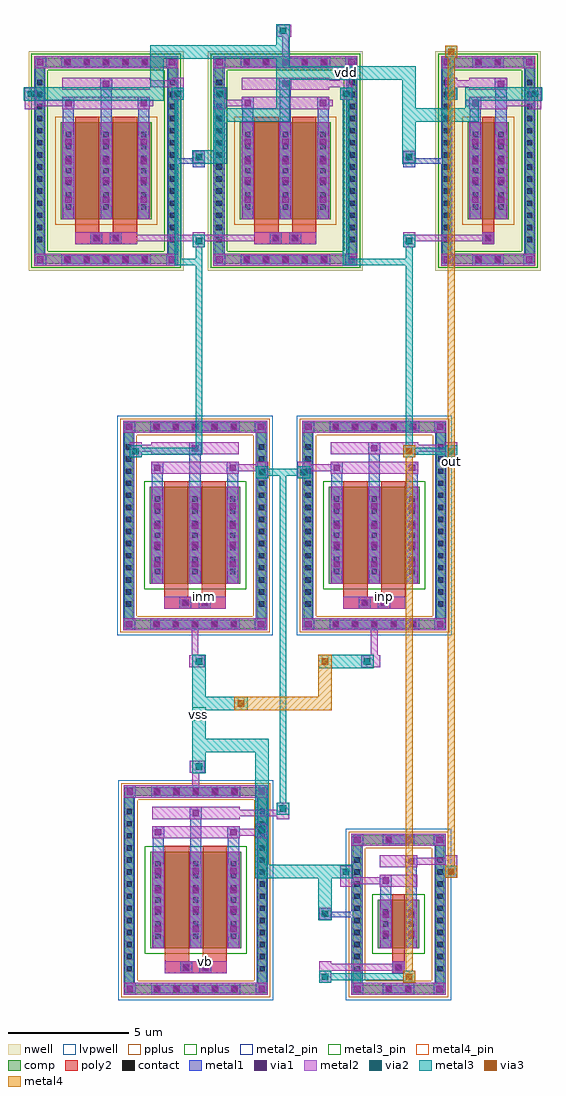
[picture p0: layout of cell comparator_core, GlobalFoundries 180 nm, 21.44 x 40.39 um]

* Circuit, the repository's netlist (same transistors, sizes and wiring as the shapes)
.lib "/home/huda/.volare/gf180mcuD/libs.tech/ngspice/sm141064.ngspice" typical
.subckt comparator_core vdd vss inp inm vb out
XM1 n1 inm tail vss nfet_03v3 L=1u W=8u nf=2
XM2 n2 inp tail vss nfet_03v3 L=1u W=8u nf=2
XM3 n1 n1 vdd vdd pfet_03v3 L=1u W=8u nf=2
XM4 n2 n1 vdd vdd pfet_03v3 L=1u W=8u nf=2
XM5 tail vb vss vss nfet_03v3 L=1u W=8u nf=2
XM6 out n2 vdd vdd pfet_03v3 L=0.5u W=4u nf=1
XM7 out n2 vss vss nfet_03v3 L=0.5u W=2u nf=1
.ends

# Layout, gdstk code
import gdstk
lib = gdstk.Library(unit=1e-6, precision=5e-09)
def R(c, l, rs):  # rectangles x0, y0, x1, y1
    for r in rs: c.add(gdstk.rectangle(r[:2], r[2:], *l))
def A(c, l, x, y, w, h, nx, ny, dx, dy):  # array of equal rectangles
    R(c, l, [(x+i*dx, y+j*dy, x+i*dx+w, y+j*dy+h) for i in range(nx) for j in range(ny)])
def P(c, l, *ps):  # polygons
    for p in ps: c.add(gdstk.Polygon(p, *l))
nwell = (21, 0)
comp = (22, 0)
poly2 = (30, 0)
pplus = (31, 0)
nplus = (32, 0)
contact = (33, 0)
metal1 = (34, 0)
via1 = (35, 0)
metal2 = (36, 0)
metal2_pin = (36, 10)
via2 = (38, 0)
via3 = (40, 0)
metal3 = (42, 0)
metal3_pin = (42, 10)
metal4 = (46, 0)
metal4_pin = (46, 10)
lvpwell = (204, 0)

comparator_core = lib.new_cell('comparator_core')
R(comparator_core, nwell, [(-10.6,30.18,-4.18,39.27), (-3.18,30.18,3.24,39.27), (6.24,30.18,10.6,39.27), (-10.44,30.34,-4.34,39.11), (-3.02,30.34,3.08,39.11), (6.4,30.34,10.44,39.11)])
A(comparator_core, comp, -5.46, 0.28, 0.36, 0.36, 5, 2, 0.8, 8.17)
A(comparator_core, comp, -6.61, 1.115, 0.36, 0.36, 1, 14, 0, 0.5)
A(comparator_core, comp, -1.11, 1.115, 0.36, 0.36, 1, 14, 0, 0.5)
A(comparator_core, comp, 2.81, 1.115, 0.36, 0.36, 1, 10, 0, 0.5)
A(comparator_core, comp, 6.25, 1.115, 0.36, 0.36, 1, 10, 0, 0.5)
A(comparator_core, comp, -5.49, 15.37, 0.36, 0.36, 5, 2, 0.8, 8.17)
A(comparator_core, comp, 1.93, 15.37, 0.36, 0.36, 5, 2, 0.8, 8.17)
A(comparator_core, comp, -6.64, 16.205, 0.36, 0.36, 1, 14, 0, 0.5)
A(comparator_core, comp, -1.14, 16.205, 0.36, 0.36, 1, 14, 0, 0.5)
A(comparator_core, comp, 0.78, 16.205, 0.36, 0.36, 1, 14, 0, 0.5)
A(comparator_core, comp, 6.28, 16.205, 0.36, 0.36, 1, 14, 0, 0.5)
A(comparator_core, comp, -9.17, 30.46, 0.36, 0.36, 5, 2, 0.8, 8.17)
A(comparator_core, comp, -1.75, 30.46, 0.36, 0.36, 5, 2, 0.8, 8.17)
A(comparator_core, comp, -10.32, 31.295, 0.36, 0.36, 1, 14, 0, 0.5)
A(comparator_core, comp, -4.82, 31.295, 0.36, 0.36, 1, 14, 0, 0.5)
A(comparator_core, comp, -2.9, 31.295, 0.36, 0.36, 1, 14, 0, 0.5)
A(comparator_core, comp, 2.6, 31.295, 0.36, 0.36, 1, 14, 0, 0.5)
A(comparator_core, comp, 6.52, 31.295, 0.36, 0.36, 1, 14, 0, 0.5)
A(comparator_core, comp, 9.96, 31.295, 0.36, 0.36, 1, 14, 0, 0.5)
R(comparator_core, comp, [(-5.46,0.28,-1.9,0.64), (4.13,0.28,4.49,0.64), (4.13,0.28,5.29,0.64), (4.93,0.28,5.29,0.64), (-6.61,1.115,-6.25,7.975), (-1.11,1.115,-0.75,7.975), (2.81,1.115,3.17,5.975), (6.25,1.115,6.61,5.975), (-5.56,2.14,-1.8,6.14), (3.86,2.14,5.56,4.14), (4.13,6.45,4.49,6.81), (4.13,6.45,5.29,6.81), (4.93,6.45,5.29,6.81), (-5.46,8.45,-1.9,8.81), (-5.49,15.37,-1.93,15.73), (1.93,15.37,5.49,15.73), (-6.64,16.205,-6.28,23.065), (-1.14,16.205,-0.78,23.065), (0.78,16.205,1.14,23.065), (6.28,16.205,6.64,23.065), (-5.59,17.23,-1.83,21.23), (1.83,17.23,5.59,21.23), (-5.49,23.54,-1.93,23.9), (1.93,23.54,5.49,23.9), (-9.17,30.46,-5.61,30.82), (-1.75,30.46,1.81,30.82), (7.84,30.46,8.2,30.82), (7.84,30.46,9,30.82), (8.64,30.46,9,30.82), (-10.32,31.295,-9.96,38.155), (-4.82,31.295,-4.46,38.155), (-2.9,31.295,-2.54,38.155), (2.6,31.295,2.96,38.155), (6.52,31.295,6.88,38.155), (9.96,31.295,10.32,38.155), (-9.27,32.32,-5.51,36.32), (-1.85,32.32,1.91,36.32), (7.57,32.32,9.27,36.32), (-9.17,38.63,-5.61,38.99), (-1.75,38.63,1.81,38.99), (7.84,38.63,8.2,38.99), (7.84,38.63,9,38.99), (8.64,38.63,9,38.99)])
P(comparator_core, comp, [(-0.78,23.9),(-6.64,23.9),(-6.64,15.73),(-6.28,15.73),(-6.28,23.54),(-1.14,23.54),(-1.14,15.73),(-6.28,15.73),(-6.64,15.73),(-6.64,15.37),(-0.78,15.37)],
  [(6.61,6.81),(2.81,6.81),(2.81,0.64),(3.17,0.64),(3.17,6.45),(6.25,6.45),(6.25,0.64),(3.17,0.64),(2.81,0.64),(2.81,0.28),(6.61,0.28)],
  [(10.32,38.99),(6.52,38.99),(6.52,30.82),(6.88,30.82),(6.88,38.63),(9.96,38.63),(9.96,30.82),(6.88,30.82),(6.52,30.82),(6.52,30.46),(10.32,30.46)],
  [(-0.75,8.81),(-6.61,8.81),(-6.61,0.64),(-6.25,0.64),(-6.25,8.45),(-1.11,8.45),(-1.11,0.64),(-6.25,0.64),(-6.61,0.64),(-6.61,0.28),(-0.75,0.28)],
  [(2.96,38.99),(-2.9,38.99),(-2.9,30.82),(-2.54,30.82),(-2.54,38.63),(2.6,38.63),(2.6,30.82),(-2.54,30.82),(-2.9,30.82),(-2.9,30.46),(2.96,30.46)],
  [(-4.46,38.99),(-10.32,38.99),(-10.32,30.82),(-9.96,30.82),(-9.96,38.63),(-4.82,38.63),(-4.82,30.82),(-9.96,30.82),(-10.32,30.82),(-10.32,30.46),(-4.46,30.46)],
  [(6.64,23.9),(0.78,23.9),(0.78,15.73),(1.14,15.73),(1.14,23.54),(6.28,23.54),(6.28,15.73),(1.14,15.73),(0.78,15.73),(0.78,15.37),(6.64,15.37)])
R(comparator_core, poly2, [(-4.96,1.1,-2.4,1.6), (4.46,1.1,4.96,1.6), (-4.26,1.17,-3.9,1.53), (-3.46,1.17,-3.1,1.53), (4.53,1.17,4.89,1.53), (-4.96,1.6,-3.96,1.9), (-3.4,1.6,-2.4,1.9), (4.46,1.6,4.96,1.9), (-4.96,1.9,-3.96,6.38), (-3.4,1.9,-2.4,6.38), (4.46,1.9,4.96,4.38), (-4.99,16.19,-2.43,16.69), (2.43,16.19,4.99,16.69), (-4.29,16.26,-3.93,16.62), (-3.49,16.26,-3.13,16.62), (3.13,16.26,3.49,16.62), (3.93,16.26,4.29,16.62), (-4.99,16.69,-3.99,16.99), (-3.43,16.69,-2.43,16.99), (2.43,16.69,3.43,16.99), (3.99,16.69,4.99,16.99), (-4.99,16.99,-3.99,21.47), (-3.43,16.99,-2.43,21.47), (2.43,16.99,3.43,21.47), (3.99,16.99,4.99,21.47), (-8.67,31.28,-6.11,31.78), (-1.25,31.28,1.31,31.78), (8.17,31.28,8.67,31.78), (-7.97,31.35,-7.61,31.71), (-7.17,31.35,-6.81,31.71), (-0.55,31.35,-0.19,31.71), (0.25,31.35,0.61,31.71), (8.24,31.35,8.6,31.71), (-8.67,31.78,-7.67,32.08), (-7.11,31.78,-6.11,32.08), (-1.25,31.78,-0.25,32.08), (0.31,31.78,1.31,32.08), (8.17,31.78,8.67,32.08), (-8.67,32.08,-7.67,36.56), (-7.11,32.08,-6.11,36.56), (-1.25,32.08,-0.25,36.56), (0.31,32.08,1.31,36.56), (8.17,32.08,8.67,36.56)])
R(comparator_core, pplus, [(-9.5,32.09,-5.28,36.55), (-2.08,32.09,2.14,36.55), (7.34,32.09,9.5,36.55)])
P(comparator_core, pplus, [(-0.62,24.06),(-6.8,24.06),(-6.8,15.89),(-6.12,15.89),(-6.12,23.38),(-1.3,23.38),(-1.3,15.89),(-6.12,15.89),(-6.8,15.89),(-6.8,15.21),(-0.62,15.21)],
  [(6.77,6.97),(2.65,6.97),(2.65,0.8),(3.33,0.8),(3.33,6.29),(6.09,6.29),(6.09,0.8),(3.33,0.8),(2.65,0.8),(2.65,0.12),(6.77,0.12)],
  [(-0.59,8.97),(-6.77,8.97),(-6.77,0.8),(-6.09,0.8),(-6.09,8.29),(-1.27,8.29),(-1.27,0.8),(-6.09,0.8),(-6.77,0.8),(-6.77,0.12),(-0.59,0.12)],
  [(6.8,24.06),(0.62,24.06),(0.62,15.89),(1.3,15.89),(1.3,23.38),(6.12,23.38),(6.12,15.89),(1.3,15.89),(0.62,15.89),(0.62,15.21),(6.8,15.21)])
R(comparator_core, nplus, [(-5.79,1.91,-1.57,6.37), (3.63,1.91,5.79,4.37), (-5.82,17,-1.6,21.46), (1.6,17,5.82,21.46)])
P(comparator_core, nplus, [(10.48,39.15),(6.36,39.15),(6.36,30.98),(7.04,30.98),(7.04,38.47),(9.8,38.47),(9.8,30.98),(7.04,30.98),(6.36,30.98),(6.36,30.3),(10.48,30.3)],
  [(3.12,39.15),(-3.06,39.15),(-3.06,30.98),(-2.38,30.98),(-2.38,38.47),(2.44,38.47),(2.44,30.98),(-2.38,30.98),(-3.06,30.98),(-3.06,30.3),(3.12,30.3)],
  [(-4.3,39.15),(-10.48,39.15),(-10.48,30.98),(-9.8,30.98),(-9.8,38.47),(-4.98,38.47),(-4.98,30.98),(-9.8,30.98),(-10.48,30.98),(-10.48,30.3),(-4.3,30.3)])
A(comparator_core, contact, -5.39, 0.35, 0.22, 0.22, 5, 2, 0.8, 8.17)
A(comparator_core, contact, -6.54, 1.185, 0.22, 0.22, 1, 14, 0, 0.5)
A(comparator_core, contact, -1.04, 1.185, 0.22, 0.22, 1, 14, 0, 0.5)
A(comparator_core, contact, 2.88, 1.185, 0.22, 0.22, 1, 10, 0, 0.5)
A(comparator_core, contact, 6.32, 1.185, 0.22, 0.22, 1, 10, 0, 0.5)
A(comparator_core, contact, -5.35, 2.53, 0.22, 0.22, 3, 7, 1.56, 0.5)
A(comparator_core, contact, 4.07, 2.53, 0.22, 0.22, 1, 3, 0, 0.5)
A(comparator_core, contact, 5.13, 2.53, 0.22, 0.22, 1, 3, 0, 0.5)
A(comparator_core, contact, -5.42, 15.44, 0.22, 0.22, 5, 2, 0.8, 8.17)
A(comparator_core, contact, 2, 15.44, 0.22, 0.22, 5, 2, 0.8, 8.17)
A(comparator_core, contact, -6.57, 16.275, 0.22, 0.22, 1, 14, 0, 0.5)
A(comparator_core, contact, -1.07, 16.275, 0.22, 0.22, 1, 14, 0, 0.5)
A(comparator_core, contact, 0.85, 16.275, 0.22, 0.22, 1, 14, 0, 0.5)
A(comparator_core, contact, 6.35, 16.275, 0.22, 0.22, 1, 14, 0, 0.5)
A(comparator_core, contact, -5.38, 17.62, 0.22, 0.22, 3, 7, 1.56, 0.5)
A(comparator_core, contact, 2.04, 17.62, 0.22, 0.22, 3, 7, 1.56, 0.5)
A(comparator_core, contact, -9.1, 30.53, 0.22, 0.22, 5, 2, 0.8, 8.17)
A(comparator_core, contact, -1.68, 30.53, 0.22, 0.22, 5, 2, 0.8, 8.17)
A(comparator_core, contact, -10.25, 31.365, 0.22, 0.22, 1, 14, 0, 0.5)
A(comparator_core, contact, -4.75, 31.365, 0.22, 0.22, 1, 14, 0, 0.5)
A(comparator_core, contact, -2.83, 31.365, 0.22, 0.22, 1, 14, 0, 0.5)
A(comparator_core, contact, 2.67, 31.365, 0.22, 0.22, 1, 14, 0, 0.5)
A(comparator_core, contact, 6.59, 31.365, 0.22, 0.22, 1, 14, 0, 0.5)
A(comparator_core, contact, 10.03, 31.365, 0.22, 0.22, 1, 14, 0, 0.5)
A(comparator_core, contact, -9.06, 32.71, 0.22, 0.22, 3, 7, 1.56, 0.5)
A(comparator_core, contact, -1.64, 32.71, 0.22, 0.22, 3, 7, 1.56, 0.5)
A(comparator_core, contact, 7.78, 32.71, 0.22, 0.22, 1, 7, 0, 0.5)
A(comparator_core, contact, 8.84, 32.71, 0.22, 0.22, 1, 7, 0, 0.5)
R(comparator_core, contact, [(4.2,0.35,4.42,0.57), (5,0.35,5.22,0.57), (-4.19,1.24,-3.97,1.46), (-3.39,1.24,-3.17,1.46), (4.6,1.24,4.82,1.46), (4.2,6.52,4.42,6.74), (5,6.52,5.22,6.74), (-4.22,16.33,-4,16.55), (-3.42,16.33,-3.2,16.55), (3.2,16.33,3.42,16.55), (4,16.33,4.22,16.55), (7.91,30.53,8.13,30.75), (8.71,30.53,8.93,30.75), (-7.9,31.42,-7.68,31.64), (-7.1,31.42,-6.88,31.64), (-0.48,31.42,-0.26,31.64), (0.32,31.42,0.54,31.64), (8.31,31.42,8.53,31.64), (7.91,38.7,8.13,38.92), (8.71,38.7,8.93,38.92)])
A(comparator_core, metal1, -5.53, 0.21, 0.5, 0.5, 5, 2, 0.8, 8.17)
A(comparator_core, metal1, -6.66, 1.065, 0.46, 0.46, 1, 14, 0, 0.5)
A(comparator_core, metal1, -1.16, 1.065, 0.46, 0.46, 1, 14, 0, 0.5)
A(comparator_core, metal1, 2.76, 1.065, 0.46, 0.46, 1, 10, 0, 0.5)
A(comparator_core, metal1, 6.2, 1.065, 0.46, 0.46, 1, 10, 0, 0.5)
A(comparator_core, metal1, -5.47, 2.14, 0.46, 4, 3, 1, 1.56, 0)
A(comparator_core, metal1, -5.47, 2.41, 0.46, 0.46, 3, 7, 1.56, 0.5)
A(comparator_core, metal1, 3.95, 2.41, 0.46, 0.46, 1, 3, 0, 0.5)
A(comparator_core, metal1, 5.01, 2.41, 0.46, 0.46, 1, 3, 0, 0.5)
A(comparator_core, metal1, -5.49, 2.69, 0.5, 0.5, 3, 4, 1.56, 0.8)
A(comparator_core, metal1, -5.49, 2.69, 0.5, 2.9, 3, 1, 1.56, 0)
A(comparator_core, metal1, -5.56, 15.3, 0.5, 0.5, 5, 2, 0.8, 8.17)
A(comparator_core, metal1, 1.86, 15.3, 0.5, 0.5, 5, 2, 0.8, 8.17)
A(comparator_core, metal1, -6.69, 16.155, 0.46, 0.46, 1, 14, 0, 0.5)
A(comparator_core, metal1, -1.19, 16.155, 0.46, 0.46, 1, 14, 0, 0.5)
A(comparator_core, metal1, 0.73, 16.155, 0.46, 0.46, 1, 14, 0, 0.5)
A(comparator_core, metal1, 6.23, 16.155, 0.46, 0.46, 1, 14, 0, 0.5)
A(comparator_core, metal1, -5.5, 17.23, 0.46, 4, 3, 1, 1.56, 0)
A(comparator_core, metal1, 1.92, 17.23, 0.46, 4, 3, 1, 1.56, 0)
A(comparator_core, metal1, -5.5, 17.5, 0.46, 0.46, 3, 7, 1.56, 0.5)
A(comparator_core, metal1, 1.92, 17.5, 0.46, 0.46, 3, 7, 1.56, 0.5)
A(comparator_core, metal1, -5.52, 17.78, 0.5, 0.5, 3, 4, 1.56, 0.8)
A(comparator_core, metal1, -5.52, 17.78, 0.5, 2.9, 3, 1, 1.56, 0)
A(comparator_core, metal1, 1.9, 17.78, 0.5, 0.5, 3, 4, 1.56, 0.8)
A(comparator_core, metal1, 1.9, 17.78, 0.5, 2.9, 3, 1, 1.56, 0)
A(comparator_core, metal1, -9.24, 30.39, 0.5, 0.5, 5, 2, 0.8, 8.17)
A(comparator_core, metal1, -1.82, 30.39, 0.5, 0.5, 5, 2, 0.8, 8.17)
A(comparator_core, metal1, -10.37, 31.245, 0.46, 0.46, 1, 14, 0, 0.5)
A(comparator_core, metal1, -4.87, 31.245, 0.46, 0.46, 1, 14, 0, 0.5)
A(comparator_core, metal1, -2.95, 31.245, 0.46, 0.46, 1, 14, 0, 0.5)
A(comparator_core, metal1, 2.55, 31.245, 0.46, 0.46, 1, 14, 0, 0.5)
A(comparator_core, metal1, 6.47, 31.245, 0.46, 0.46, 1, 14, 0, 0.5)
A(comparator_core, metal1, 9.91, 31.245, 0.46, 0.46, 1, 14, 0, 0.5)
A(comparator_core, metal1, -9.18, 32.32, 0.46, 4, 3, 1, 1.56, 0)
A(comparator_core, metal1, -1.76, 32.32, 0.46, 4, 3, 1, 1.56, 0)
A(comparator_core, metal1, -9.18, 32.59, 0.46, 0.46, 3, 7, 1.56, 0.5)
A(comparator_core, metal1, -1.76, 32.59, 0.46, 0.46, 3, 7, 1.56, 0.5)
A(comparator_core, metal1, 7.66, 32.59, 0.46, 0.46, 1, 7, 0, 0.5)
A(comparator_core, metal1, 8.72, 32.59, 0.46, 0.46, 1, 7, 0, 0.5)
A(comparator_core, metal1, -9.2, 32.87, 0.5, 0.5, 3, 4, 1.56, 0.8)
A(comparator_core, metal1, -9.2, 32.87, 0.5, 2.9, 3, 1, 1.56, 0)
A(comparator_core, metal1, -1.78, 32.87, 0.5, 0.5, 3, 4, 1.56, 0.8)
A(comparator_core, metal1, -1.78, 32.87, 0.5, 2.9, 3, 1, 1.56, 0)
A(comparator_core, metal1, 7.64, 32.87, 0.5, 0.5, 1, 4, 0, 0.8)
A(comparator_core, metal1, 8.7, 32.87, 0.5, 0.5, 1, 4, 0, 0.8)
R(comparator_core, metal1, [(-6.66,0.21,-6.16,0.71), (-6.66,0.21,-6.16,0.71), (-6.66,0.21,-6.2,0.64), (-5.53,0.21,-1.83,0.71), (-1.2,0.21,-0.7,0.71), (-1.2,0.21,-0.7,0.71), (-1.16,0.21,-0.7,0.64), (2.76,0.21,3.26,0.71), (2.76,0.21,3.26,0.71), (2.76,0.21,3.22,0.64), (4.06,0.21,4.56,0.71), (4.06,0.21,5.36,0.71), (4.86,0.21,5.36,0.71), (6.16,0.21,6.66,0.71), (6.16,0.21,6.66,0.71), (6.2,0.21,6.66,0.64), (-6.66,0.64,-6.2,8.45), (-1.16,0.64,-0.7,8.45), (2.76,0.64,3.22,6.45), (6.2,0.64,6.66,6.45), (-4.33,1.1,-3.83,1.6), (-3.53,1.1,-3.03,1.6), (4.46,1.1,4.96,1.6), (3.95,2.14,4.41,4.14), (5.01,2.14,5.47,4.14), (3.93,2.49,4.43,2.99), (3.93,2.49,4.43,3.79), (4.99,2.49,5.49,2.99), (4.99,2.49,5.49,3.79), (1.42,3.29,1.92,3.82), (3.93,3.29,4.43,3.79), (4.99,3.29,5.49,3.79), (1.42,3.32,1.92,3.82), (1.555,3.425,2.875,3.655), (3.95,4.14,4.41,5.19), (5.01,4.14,5.47,5.99), (3.93,4.69,4.43,5.19), (4.99,5.49,5.49,5.99), (-5.47,6.14,-5.01,7.19), (-3.91,6.14,-3.45,7.99), (-2.35,6.14,-1.89,7.19), (2.76,6.38,3.26,6.88), (2.76,6.38,3.26,6.88), (4.06,6.38,4.56,6.88), (4.06,6.38,5.36,6.88), (4.86,6.38,5.36,6.88), (6.16,6.38,6.66,6.88), (6.16,6.38,6.66,6.88), (2.76,6.45,3.22,6.88), (6.2,6.45,6.66,6.88), (-5.49,6.69,-4.99,7.19), (-2.37,6.69,-1.87,7.19), (-3.93,7.49,-3.43,7.99), (-6.66,8.38,-6.16,8.88), (-6.66,8.38,-6.16,8.88), (-5.53,8.38,-1.83,8.88), (-1.2,8.38,-0.7,8.88), (-1.2,8.38,-0.7,8.88), (-6.66,8.45,-6.2,8.88), (-1.16,8.45,-0.7,8.88), (-6.69,15.3,-6.19,15.8), (-6.69,15.3,-6.19,15.8), (-6.69,15.3,-6.23,15.73), (-5.56,15.3,-1.86,15.8), (-1.23,15.3,-0.73,15.8), (-1.23,15.3,-0.73,15.8), (-1.19,15.3,-0.73,15.73), (0.73,15.3,1.23,15.8), (0.73,15.3,1.23,15.8), (0.73,15.3,1.19,15.73), (1.86,15.3,5.56,15.8), (6.19,15.3,6.69,15.8), (6.19,15.3,6.69,15.8), (6.23,15.3,6.69,15.73), (-6.69,15.73,-6.23,23.54), (-1.19,15.73,-0.73,23.54), (0.73,15.73,1.19,23.54), (6.23,15.73,6.69,23.54), (-4.36,16.19,-3.86,16.69), (-3.56,16.19,-3.06,16.69), (3.06,16.19,3.56,16.69), (3.86,16.19,4.36,16.69), (-5.5,21.23,-5.04,22.28), (-3.94,21.23,-3.48,23.08), (-2.38,21.23,-1.92,22.28), (1.92,21.23,2.38,22.28), (3.48,21.23,3.94,23.08), (5.04,21.23,5.5,22.28), (-5.52,21.78,-5.02,22.28), (-2.4,21.78,-1.9,22.28), (1.9,21.78,2.4,22.28), (5.02,21.78,5.52,22.28), (-3.96,22.58,-3.46,23.08), (3.46,22.58,3.96,23.08), (-6.69,23.47,-6.19,23.97), (-6.69,23.47,-6.19,23.97), (-5.56,23.47,-1.86,23.97), (-1.23,23.47,-0.73,23.97), (-1.23,23.47,-0.73,23.97), (0.73,23.47,1.23,23.97), (0.73,23.47,1.23,23.97), (1.86,23.47,5.56,23.97), (6.19,23.47,6.69,23.97), (6.19,23.47,6.69,23.97), (-6.69,23.54,-6.23,23.97), (-1.19,23.54,-0.73,23.97), (0.73,23.54,1.19,23.97), (6.23,23.54,6.69,23.97), (-10.37,30.39,-9.87,30.89), (-10.37,30.39,-9.87,30.89), (-10.37,30.39,-9.91,30.82), (-9.24,30.39,-5.54,30.89), (-4.91,30.39,-4.41,30.89), (-4.91,30.39,-4.41,30.89), (-4.87,30.39,-4.41,30.82), (-2.95,30.39,-2.45,30.89), (-2.95,30.39,-2.45,30.89), (-2.95,30.39,-2.49,30.82), (-1.82,30.39,1.88,30.89), (2.51,30.39,3.01,30.89), (2.51,30.39,3.01,30.89), (2.55,30.39,3.01,30.82), (6.47,30.39,6.97,30.89), (6.47,30.39,6.97,30.89), (6.47,30.39,6.93,30.82), (7.77,30.39,8.27,30.89), (7.77,30.39,9.07,30.89), (8.57,30.39,9.07,30.89), (9.87,30.39,10.37,30.89), (9.87,30.39,10.37,30.89), (9.91,30.39,10.37,30.82), (-10.37,30.82,-9.91,38.63), (-4.87,30.82,-4.41,38.63), (-2.95,30.82,-2.49,38.63), (2.55,30.82,3.01,38.63), (6.47,30.82,6.93,38.63), (9.91,30.82,10.37,38.63), (-8.04,31.28,-7.54,31.78), (-7.24,31.28,-6.74,31.78), (-0.62,31.28,-0.12,31.78), (0.18,31.28,0.68,31.78), (8.17,31.28,8.67,31.78), (7.66,32.32,8.12,36.32), (8.72,32.32,9.18,36.32), (7.64,32.87,8.14,35.77), (8.7,32.87,9.2,35.77), (-3.8,34.47,-3.3,35.14), (4.9,34.47,5.4,35.14), (-4.525,34.605,-3.435,34.835), (5.035,34.605,6.585,34.835), (-3.8,34.64,-3.3,35.14), (4.9,34.64,5.4,35.14), (-9.18,36.32,-8.72,37.37), (-7.62,36.32,-7.16,38.17), (-6.06,36.32,-5.6,37.37), (-1.76,36.32,-1.3,37.37), (-0.2,36.32,0.26,38.17), (1.36,36.32,1.82,37.37), (7.66,36.32,8.12,37.37), (8.72,36.32,9.18,38.17), (-9.2,36.87,-8.7,37.37), (-6.08,36.87,-5.58,37.37), (-1.78,36.87,-1.28,37.37), (1.34,36.87,1.84,37.37), (7.64,36.87,8.14,37.37), (-7.64,37.67,-7.14,38.17), (-0.22,37.67,0.28,38.17), (8.7,37.67,9.2,38.17), (-10.37,38.56,-9.87,39.06), (-10.37,38.56,-9.87,39.06), (-9.24,38.56,-5.54,39.06), (-4.91,38.56,-4.41,39.06), (-4.91,38.56,-4.41,39.06), (-2.95,38.56,-2.45,39.06), (-2.95,38.56,-2.45,39.06), (-1.82,38.56,1.88,39.06), (2.51,38.56,3.01,39.06), (2.51,38.56,3.01,39.06), (6.47,38.56,6.97,39.06), (6.47,38.56,6.97,39.06), (7.77,38.56,8.27,39.06), (7.77,38.56,9.07,39.06), (8.57,38.56,9.07,39.06), (9.87,38.56,10.37,39.06), (9.87,38.56,10.37,39.06), (-10.37,38.63,-9.91,39.06), (-4.87,38.63,-4.41,39.06), (-2.95,38.63,-2.49,39.06), (2.55,38.63,3.01,39.06), (6.47,38.63,6.93,39.06), (9.91,38.63,10.37,39.06)])
A(comparator_core, via1, -5.41, 0.33, 0.26, 0.26, 5, 2, 0.8, 8.17)
A(comparator_core, via1, -5.37, 2.81, 0.26, 0.26, 3, 4, 1.56, 0.8)
A(comparator_core, via1, -5.44, 15.42, 0.26, 0.26, 5, 2, 0.8, 8.17)
A(comparator_core, via1, 1.98, 15.42, 0.26, 0.26, 5, 2, 0.8, 8.17)
A(comparator_core, via1, -5.4, 17.9, 0.26, 0.26, 3, 4, 1.56, 0.8)
A(comparator_core, via1, 2.02, 17.9, 0.26, 0.26, 3, 4, 1.56, 0.8)
A(comparator_core, via1, -9.12, 30.51, 0.26, 0.26, 5, 2, 0.8, 8.17)
A(comparator_core, via1, -1.7, 30.51, 0.26, 0.26, 5, 2, 0.8, 8.17)
A(comparator_core, via1, -9.08, 32.99, 0.26, 0.26, 3, 4, 1.56, 0.8)
A(comparator_core, via1, -1.66, 32.99, 0.26, 0.26, 3, 4, 1.56, 0.8)
A(comparator_core, via1, 7.76, 32.99, 0.26, 0.26, 1, 4, 0, 0.8)
A(comparator_core, via1, 8.82, 32.99, 0.26, 0.26, 1, 4, 0, 0.8)
R(comparator_core, via1, [(-6.54,0.33,-6.28,0.59), (-1.08,0.33,-0.82,0.59), (2.88,0.33,3.14,0.59), (4.18,0.33,4.44,0.59), (4.98,0.33,5.24,0.59), (6.28,0.33,6.54,0.59), (-4.21,1.22,-3.95,1.48), (-3.41,1.22,-3.15,1.48), (4.58,1.22,4.84,1.48), (4.05,2.61,4.31,2.87), (5.11,2.61,5.37,2.87), (4.05,3.41,4.31,3.67), (5.11,3.41,5.37,3.67), (1.54,3.44,1.8,3.7), (4.05,4.81,4.31,5.07), (5.11,5.61,5.37,5.87), (2.88,6.5,3.14,6.76), (4.18,6.5,4.44,6.76), (4.98,6.5,5.24,6.76), (6.28,6.5,6.54,6.76), (-5.37,6.81,-5.11,7.07), (-2.25,6.81,-1.99,7.07), (-3.81,7.61,-3.55,7.87), (-6.54,8.5,-6.28,8.76), (-1.08,8.5,-0.82,8.76), (-6.57,15.42,-6.31,15.68), (-1.11,15.42,-0.85,15.68), (0.85,15.42,1.11,15.68), (6.31,15.42,6.57,15.68), (-4.24,16.31,-3.98,16.57), (-3.44,16.31,-3.18,16.57), (3.18,16.31,3.44,16.57), (3.98,16.31,4.24,16.57), (-5.4,21.9,-5.14,22.16), (-2.28,21.9,-2.02,22.16), (2.02,21.9,2.28,22.16), (5.14,21.9,5.4,22.16), (-3.84,22.7,-3.58,22.96), (3.58,22.7,3.84,22.96), (-6.57,23.59,-6.31,23.85), (-1.11,23.59,-0.85,23.85), (0.85,23.59,1.11,23.85), (6.31,23.59,6.57,23.85), (-10.25,30.51,-9.99,30.77), (-4.79,30.51,-4.53,30.77), (-2.83,30.51,-2.57,30.77), (2.63,30.51,2.89,30.77), (6.59,30.51,6.85,30.77), (7.89,30.51,8.15,30.77), (8.69,30.51,8.95,30.77), (9.99,30.51,10.25,30.77), (-7.92,31.4,-7.66,31.66), (-7.12,31.4,-6.86,31.66), (-0.5,31.4,-0.24,31.66), (0.3,31.4,0.56,31.66), (8.29,31.4,8.55,31.66), (-3.68,34.76,-3.42,35.02), (5.02,34.76,5.28,35.02), (-9.08,36.99,-8.82,37.25), (-5.96,36.99,-5.7,37.25), (-1.66,36.99,-1.4,37.25), (1.46,36.99,1.72,37.25), (7.76,36.99,8.02,37.25), (-7.52,37.79,-7.26,38.05), (-0.1,37.79,0.16,38.05), (8.82,37.79,9.08,38.05), (-10.25,38.68,-9.99,38.94), (-4.79,38.68,-4.53,38.94), (-2.83,38.68,-2.57,38.94), (2.63,38.68,2.89,38.94), (6.59,38.68,6.85,38.94), (7.89,38.68,8.15,38.94), (8.69,38.68,8.95,38.94), (9.99,38.68,10.25,38.94)])
A(comparator_core, metal2, -5.53, 0.21, 0.5, 0.5, 5, 2, 0.8, 8.17)
A(comparator_core, metal2, -5.49, 2.14, 0.5, 4, 3, 1, 1.56, 0)
A(comparator_core, metal2, -5.49, 2.69, 0.5, 0.5, 3, 4, 1.56, 0.8)
A(comparator_core, metal2, -5.56, 15.3, 0.5, 0.5, 5, 2, 0.8, 8.17)
A(comparator_core, metal2, 1.86, 15.3, 0.5, 0.5, 5, 2, 0.8, 8.17)
A(comparator_core, metal2, -5.52, 17.23, 0.5, 4, 3, 1, 1.56, 0)
A(comparator_core, metal2, 1.9, 17.23, 0.5, 4, 3, 1, 1.56, 0)
A(comparator_core, metal2, -5.52, 17.78, 0.5, 0.5, 3, 4, 1.56, 0.8)
A(comparator_core, metal2, 1.9, 17.78, 0.5, 0.5, 3, 4, 1.56, 0.8)
A(comparator_core, metal2, -9.24, 30.39, 0.5, 0.5, 5, 2, 0.8, 8.17)
A(comparator_core, metal2, -1.82, 30.39, 0.5, 0.5, 5, 2, 0.8, 8.17)
A(comparator_core, metal2, -9.2, 32.32, 0.5, 4, 3, 1, 1.56, 0)
A(comparator_core, metal2, -1.78, 32.32, 0.5, 4, 3, 1, 1.56, 0)
A(comparator_core, metal2, -9.2, 32.87, 0.5, 0.5, 3, 4, 1.56, 0.8)
A(comparator_core, metal2, -1.78, 32.87, 0.5, 0.5, 3, 4, 1.56, 0.8)
A(comparator_core, metal2, 7.64, 32.87, 0.5, 0.5, 1, 4, 0, 0.8)
A(comparator_core, metal2, 8.7, 32.87, 0.5, 0.5, 1, 4, 0, 0.8)
R(comparator_core, metal2, [(-6.66,0.21,-6.16,0.71), (-6.66,0.21,-6.16,0.71), (-6.66,0.21,-6.25,0.71), (-6.25,0.21,-1.11,0.71), (-1.2,0.21,-0.7,0.71), (-1.2,0.21,-0.7,0.71), (-1.11,0.21,-0.7,0.71), (2.76,0.21,3.26,0.71), (2.76,0.21,3.26,0.71), (2.76,0.21,3.17,0.71), (3.17,0.21,6.25,0.71), (4.06,0.21,4.56,0.71), (4.86,0.21,5.36,0.71), (6.16,0.21,6.66,0.71), (6.16,0.21,6.66,0.71), (6.25,0.21,6.66,0.71), (1.42,0.71,1.92,1.6), (1.42,0.71,1.92,1.21), (-4.96,1.1,-2.4,1.6), (-4.33,1.1,-3.83,1.6), (-3.53,1.1,-3.03,1.6), (4.46,1.1,4.96,1.6), (4.46,1.1,4.96,1.6), (1.53,1.21,4.6,1.49), (3.93,2.14,4.43,4.14), (4.99,2.14,5.49,4.14), (3.93,2.49,4.43,2.99), (4.99,2.49,5.49,2.99), (3.93,3.29,4.43,3.79), (4.99,3.29,5.49,3.79), (1.42,3.32,1.92,3.82), (2.29,4.69,2.79,5.56), (3.93,4.69,4.43,5.19), (3.93,4.69,5.49,5.19), (2.4,4.8,4.07,5.08), (2.29,5.06,2.79,5.56), (6.64,5.06,7.14,5.99), (6.64,5.06,7.14,5.56), (3.93,5.49,5.49,5.99), (4.99,5.49,5.49,5.99), (5.35,5.6,7.03,5.88), (2.76,6.38,3.26,6.88), (2.76,6.38,3.26,6.88), (2.76,6.38,3.17,6.88), (3.17,6.38,6.25,6.88), (4.06,6.38,4.56,6.88), (4.86,6.38,5.36,6.88), (6.16,6.38,6.66,6.88), (6.16,6.38,6.66,6.88), (6.25,6.38,6.66,6.88), (-5.49,6.69,-4.99,7.19), (-5.49,6.69,-1.87,7.19), (-2.37,6.69,-1.87,7.19), (-1.19,6.69,-0.69,7.3), (-2.01,6.8,-0.8,7.08), (-1.19,6.8,-0.69,7.3), (-5.49,7.49,-1.87,7.99), (-3.93,7.49,-3.43,7.99), (-0.32,7.49,0.18,8.17), (-2.01,7.6,0.07,7.88), (-0.32,7.67,0.18,8.17), (-6.66,8.38,-6.16,8.88), (-6.66,8.38,-6.16,8.88), (-6.66,8.38,-6.25,8.88), (-6.25,8.38,-1.11,8.88), (-1.2,8.38,-0.7,8.88), (-1.2,8.38,-0.7,8.88), (-1.11,8.38,-0.7,8.88), (-3.82,8.74,-3.54,9.8), (-3.93,9.41,-3.3,9.91), (-3.8,9.41,-3.3,9.91), (-3.96,13.76,-3.3,14.26), (-3.8,13.76,-3.3,14.26), (3.16,13.76,3.96,14.26), (3.16,13.76,3.66,14.26), (-3.85,13.87,-3.57,15.44), (3.57,13.87,3.85,15.44), (-6.69,15.3,-6.19,15.8), (-6.69,15.3,-6.19,15.8), (-6.69,15.3,-6.28,15.8), (-6.28,15.3,-1.14,15.8), (-1.23,15.3,-0.73,15.8), (-1.23,15.3,-0.73,15.8), (-1.14,15.3,-0.73,15.8), (0.73,15.3,1.23,15.8), (0.73,15.3,1.23,15.8), (0.73,15.3,1.14,15.8), (1.14,15.3,6.28,15.8), (6.19,15.3,6.69,15.8), (6.19,15.3,6.69,15.8), (6.28,15.3,6.69,15.8), (-4.99,16.19,-2.43,16.69), (-4.36,16.19,-3.86,16.69), (-3.56,16.19,-3.06,16.69), (2.43,16.19,4.99,16.69), (3.06,16.19,3.56,16.69), (3.86,16.19,4.36,16.69), (-1.19,21.59,-0.69,22.28), (-1.19,21.59,-0.69,22.09), (0.55,21.59,1.05,22.28), (0.55,21.59,1.05,22.09), (-5.52,21.78,-5.02,22.28), (-5.52,21.78,-1.9,22.28), (-2.4,21.78,-1.9,22.28), (1.9,21.78,2.4,22.28), (1.9,21.78,5.52,22.28), (5.02,21.78,5.52,22.28), (-2.04,21.89,-0.8,22.17), (0.66,21.89,2.04,22.17), (-6.41,22.46,-5.91,23.08), (-6.41,22.46,-5.91,22.96), (6.64,22.46,7.14,23.08), (6.64,22.46,7.14,22.96), (-5.52,22.58,-1.9,23.08), (-3.96,22.58,-3.46,23.08), (1.9,22.58,5.52,23.08), (3.46,22.58,3.96,23.08), (-6.3,22.69,-5.38,22.97), (5.38,22.69,7.03,22.97), (-6.69,23.47,-6.19,23.97), (-6.69,23.47,-6.19,23.97), (-6.69,23.47,-6.28,23.97), (-6.28,23.47,-1.14,23.97), (-1.23,23.47,-0.73,23.97), (-1.23,23.47,-0.73,23.97), (-1.14,23.47,-0.73,23.97), (0.73,23.47,1.23,23.97), (0.73,23.47,1.23,23.97), (0.73,23.47,1.14,23.97), (1.14,23.47,6.28,23.97), (6.19,23.47,6.69,23.97), (6.19,23.47,6.69,23.97), (6.28,23.47,6.69,23.97), (-10.37,30.39,-9.87,30.89), (-10.37,30.39,-9.87,30.89), (-10.37,30.39,-9.96,30.89), (-9.96,30.39,-4.82,30.89), (-4.91,30.39,-4.41,30.89), (-4.91,30.39,-4.41,30.89), (-4.82,30.39,-4.41,30.89), (-2.95,30.39,-2.45,30.89), (-2.95,30.39,-2.45,30.89), (-2.95,30.39,-2.54,30.89), (-2.54,30.39,2.6,30.89), (2.51,30.39,3.01,30.89), (2.51,30.39,3.01,30.89), (2.6,30.39,3.01,30.89), (6.47,30.39,6.97,30.89), (6.47,30.39,6.97,30.89), (6.47,30.39,6.88,30.89), (6.88,30.39,9.96,30.89), (7.77,30.39,8.27,30.89), (8.57,30.39,9.07,30.89), (9.87,30.39,10.37,30.89), (9.87,30.39,10.37,30.89), (9.96,30.39,10.37,30.89), (-3.8,31.16,-3.3,31.78), (-3.8,31.16,-3.3,31.78), (-3.8,31.16,-3.3,31.78), (-3.8,31.16,-3.3,31.78), (-3.8,31.16,-3.3,31.66), (4.9,31.16,5.4,31.78), (4.9,31.16,5.4,31.66), (-8.67,31.28,-6.11,31.78), (-8.04,31.28,-7.54,31.78), (-7.24,31.28,-6.74,31.78), (-1.25,31.28,1.31,31.78), (-0.62,31.28,-0.12,31.78), (0.18,31.28,0.68,31.78), (8.17,31.28,8.67,31.78), (8.17,31.28,8.67,31.78), (-6.25,31.39,-3.41,31.67), (-6.25,31.39,-3.41,31.67), (-3.69,31.39,-1.11,31.67), (-3.69,31.39,-1.11,31.67), (5.01,31.39,8.31,31.67), (7.64,32.32,8.14,36.32), (8.7,32.32,9.2,36.32), (-3.8,34.64,-3.3,35.14), (4.9,34.64,5.4,35.14), (-10.76,36.87,-10.26,37.75), (-9.2,36.87,-8.7,37.37), (-9.2,36.87,-5.58,37.37), (-6.08,36.87,-5.58,37.37), (-2.93,36.87,-2.43,37.75), (-1.78,36.87,-1.28,37.37), (-1.78,36.87,1.84,37.37), (1.34,36.87,1.84,37.37), (7.64,36.87,8.14,37.37), (7.64,36.87,9.2,37.37), (10.12,36.87,10.62,37.75), (-10.65,36.98,-5.44,37.26), (-2.82,36.98,1.98,37.26), (7.5,36.98,10.51,37.26), (-10.76,37.25,-10.26,37.75), (-4.67,37.25,-4.17,38.17), (-4.67,37.25,-4.17,37.75), (-2.93,37.25,-2.43,37.75), (2.29,37.25,2.79,38.17), (2.29,37.25,2.79,37.75), (6.64,37.25,7.14,38.17), (6.64,37.25,7.14,37.75), (10.12,37.25,10.62,37.75), (-9.2,37.67,-5.58,38.17), (-7.64,37.67,-7.14,38.17), (-1.78,37.67,1.84,38.17), (-0.22,37.67,0.28,38.17), (7.64,37.67,9.2,38.17), (8.7,37.67,9.2,38.17), (-5.72,37.78,-4.28,38.06), (1.7,37.78,2.68,38.06), (6.75,37.78,7.78,38.06), (-10.37,38.56,-9.87,39.06), (-10.37,38.56,-9.87,39.06), (-10.37,38.56,-9.96,39.06), (-9.96,38.56,-4.82,39.06), (-4.91,38.56,-4.41,39.06), (-4.91,38.56,-4.41,39.06), (-4.82,38.56,-4.41,39.06), (-2.95,38.56,-2.45,39.06), (-2.95,38.56,-2.45,39.06), (-2.95,38.56,-2.54,39.06), (-2.54,38.56,2.6,39.06), (2.51,38.56,3.01,39.06), (2.51,38.56,3.01,39.06), (2.6,38.56,3.01,39.06), (6.47,38.56,6.97,39.06), (6.47,38.56,6.97,39.06), (6.47,38.56,6.88,39.06), (6.88,38.56,9.96,39.06), (7.77,38.56,8.27,39.06), (8.57,38.56,9.07,39.06), (9.87,38.56,10.37,39.06), (9.87,38.56,10.37,39.06), (9.96,38.56,10.37,39.06), (-0.11,38.92,0.17,40.25), (-0.32,39.86,0.28,40.36), (-0.32,39.86,0.18,40.36)])
R(comparator_core, metal2_pin, [(-3.42,1.46,-3.14,1.74), (-3.45,16.55,-3.17,16.83), (3.97,16.55,4.25,16.83)])
R(comparator_core, via2, [(1.54,0.83,1.8,1.09), (1.54,3.44,1.8,3.7), (2.41,5.18,2.67,5.44), (6.76,5.18,7.02,5.44), (-1.07,6.92,-0.81,7.18), (-0.2,7.79,0.06,8.05), (-3.68,9.53,-3.42,9.79), (-3.68,13.88,-3.42,14.14), (3.28,13.88,3.54,14.14), (-1.07,21.71,-0.81,21.97), (0.67,21.71,0.93,21.97), (-6.29,22.58,-6.03,22.84), (6.76,22.58,7.02,22.84), (-3.68,31.28,-3.42,31.54), (5.02,31.28,5.28,31.54), (-3.68,34.76,-3.42,35.02), (5.02,34.76,5.28,35.02), (-10.64,37.37,-10.38,37.63), (-4.55,37.37,-4.29,37.63), (-2.81,37.37,-2.55,37.63), (2.41,37.37,2.67,37.63), (6.76,37.37,7.02,37.63), (10.24,37.37,10.5,37.63), (-0.2,39.98,0.06,40.24)])
R(comparator_core, via3, [(5.02,0.83,5.28,1.09), (6.76,5.18,7.02,5.44), (-1.94,12.14,-1.68,12.4), (1.54,13.88,1.8,14.14), (5.02,22.58,5.28,22.84), (6.76,39.11,7.02,39.37)])
R(comparator_core, metal3, [(1.42,0.71,1.92,1.21), (4.9,0.71,5.4,1.21), (1.53,0.82,5.29,1.1), (1.39,3.29,1.95,5.59), (1.42,3.32,1.92,3.82), (-1.22,5.03,2.82,5.59), (-1.22,5.03,-0.66,7.33), (2.29,5.06,2.79,5.56), (6.64,5.06,7.14,5.56), (6.64,5.06,7.14,5.56), (-1.22,6.77,-0.66,10.81), (-1.19,6.8,-0.69,7.3), (-0.32,7.67,0.18,8.17), (-0.21,7.78,0.07,21.98), (-3.83,9.38,-3.27,14.29), (-3.8,9.41,-3.3,9.91), (-3.83,10.25,-0.66,10.81), (-3.83,11.99,-1.53,12.55), (-2.06,12.02,-1.56,12.52), (1.39,13.73,3.69,14.29), (-3.8,13.76,-3.3,14.26), (1.42,13.76,1.92,14.26), (3.16,13.76,3.66,14.26), (-1.19,21.59,-0.69,22.09), (0.55,21.59,1.05,22.09), (-1.08,21.7,0.94,21.98), (-6.41,22.46,-5.91,22.96), (4.9,22.46,5.4,22.96), (6.64,22.46,7.14,22.96), (-6.3,22.57,-3.41,22.85), (-3.69,22.57,-3.41,31.55), (5.01,22.57,5.29,31.55), (5.01,22.57,7.03,22.85), (-4.56,30.4,-4.28,37.64), (-4.56,30.4,-3.41,30.68), (2.4,30.4,2.68,37.64), (2.4,30.4,5.29,30.68), (-3.8,31.16,-3.3,31.66), (4.9,31.16,5.4,31.66), (-3.83,34.61,-2.4,35.17), (-2.96,34.61,-2.4,37.78), (4.87,34.61,5.43,38.65), (-3.8,34.64,-3.3,35.14), (4.9,34.64,5.4,35.14), (-2.96,36.35,0.21,36.91), (-0.35,36.35,0.21,40.39), (4.87,36.35,8.04,36.91), (7.48,36.35,8.04,37.78), (-10.79,37.22,-5.01,37.78), (-5.57,37.22,-5.01,39.52), (7.48,37.22,10.65,37.78), (-10.76,37.25,-10.26,37.75), (-4.67,37.25,-4.17,37.75), (-2.93,37.25,-2.43,37.75), (2.29,37.25,2.79,37.75), (6.64,37.25,7.14,37.75), (10.12,37.25,10.62,37.75), (6.75,37.36,7.03,39.38), (-0.35,38.09,5.43,38.65), (-5.57,38.96,0.21,39.52), (6.64,38.99,7.14,39.49), (-0.32,39.86,0.18,40.36)])
R(comparator_core, metal3_pin, [(-3.83,11.555,-3.27,12.115), (2.26,38.09,2.82,38.65)])
R(comparator_core, metal4, [(4.9,0.71,5.4,1.21), (5.01,0.82,5.29,22.85), (6.64,5.06,7.14,5.56), (6.75,5.17,7.03,39.38), (-2.09,11.99,1.95,12.55), (1.39,11.99,1.95,14.29), (-2.06,12.02,-1.56,12.52), (1.42,13.76,1.92,14.26), (4.9,22.46,5.4,22.96), (6.64,38.99,7.14,39.49)])
R(comparator_core, metal4_pin, [(6.75,22.135,7.03,22.415)])
R(comparator_core, lvpwell, [(-6.89,0,-0.47,9.09), (2.53,0,6.89,7.09), (-6.92,15.09,-0.5,24.18), (0.5,15.09,6.92,24.18)])
comparator_core.add(gdstk.Label('out', (6.89,22.275), layer=46, texttype=10))
comparator_core.add(gdstk.Label('vb', (-3.28,1.6), layer=36, texttype=10))
comparator_core.add(gdstk.Label('inm', (-3.31,16.69), layer=36, texttype=10))
comparator_core.add(gdstk.Label('inp', (4.11,16.69), layer=36, texttype=10))
comparator_core.add(gdstk.Label('vss', (-3.55,11.835), layer=42, texttype=10))
comparator_core.add(gdstk.Label('vdd', (2.54,38.37), layer=42, texttype=10))

lib.write_gds('comparator_core.gds')
